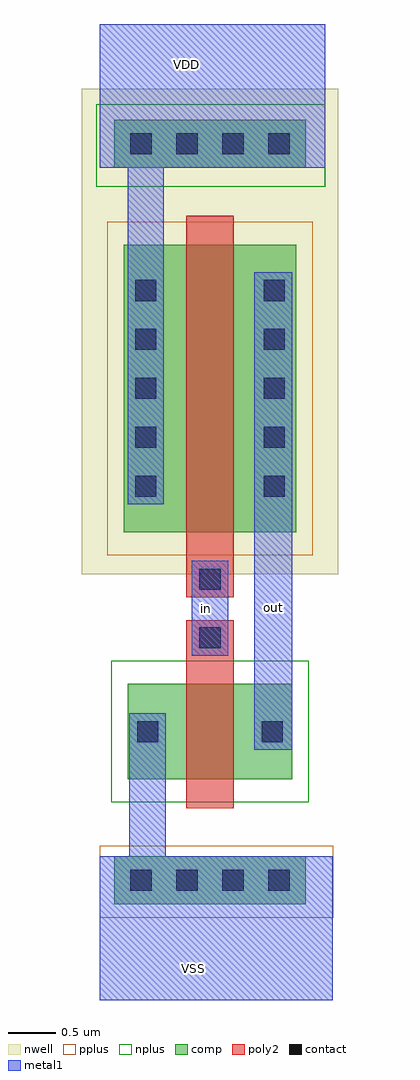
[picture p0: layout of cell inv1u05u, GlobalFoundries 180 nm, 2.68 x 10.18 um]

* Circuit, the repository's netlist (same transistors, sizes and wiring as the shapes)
** sch_path: /foss/designs/libs/core_analog/inv1u05u/inv1u05u.sch
.subckt inv1u05u in vdd out vss
*.PININFO in:B out:B vss:B vdd:B
XM1 out in vdd vdd pfet_03v3 L=0.5u W=3.0u nf=1 m=1
XM2 out in vss vss nfet_03v3 L=0.5u W=1.0u nf=1 m=1
.ends

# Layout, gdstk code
from math import pi, radians
import gdstk
lib = gdstk.Library(unit=1e-6, precision=5e-09)
def R(c, l, rs):  # rectangles x0, y0, x1, y1
    for r in rs: c.add(gdstk.rectangle(r[:2], r[2:], *l))
def A(c, l, x, y, w, h, nx, ny, dx, dy):  # array of equal rectangles
    R(c, l, [(x+i*dx, y+j*dy, x+i*dx+w, y+j*dy+h) for i in range(nx) for j in range(ny)])
nwell = (21, 0)
comp = (22, 0)
poly2 = (30, 0)
pplus = (31, 0)
nplus = (32, 0)
contact = (33, 0)
metal1 = (34, 0)

via_dev_4 = lib.new_cell('via_dev$4')
R(via_dev_4, comp, [(0,0,2,0.5)])
A(via_dev_4, contact, 0.17, 0.14, 0.22, 0.22, 4, 1, 0.48, 0)
R(via_dev_4, metal1, [(0,0,2,0.5)])

nfet = lib.new_cell('nfet')
R(nfet, comp, [(-0.42,0,0,1), (0,0,0.88,1), (0.88,0,1.3,1)])
R(nfet, poly2, [(0.19,-0.3,0.69,1.3), (0.19,1.3,0.69,1.66)])
R(nfet, nplus, [(-0.59,-0.24,1.47,1.24)])
R(nfet, contact, [(-0.32,0.39,-0.1,0.61), (0.98,0.39,1.2,0.61), (0.33,1.37,0.55,1.59)])
R(nfet, metal1, [(-0.4,0.31,-0.02,0.69), (0.9,0.31,1.28,0.69), (0.25,1.29,0.63,1.67)])

via_dev_3 = lib.new_cell('via_dev$3')

pfet_1 = lib.new_cell('pfet$1')
R(pfet_1, nwell, [(-0.9,-0.44,1.78,3.44)])
R(pfet_1, comp, [(-0.46,0,0,3), (0,0,0.88,3), (0.88,0,1.34,3)])
R(pfet_1, poly2, [(0.19,-0.68,0.69,-0.3), (0.19,-0.3,0.69,3.3)])
R(pfet_1, pplus, [(-0.63,-0.24,1.51,3.24)])
A(pfet_1, contact, -0.34, 0.37, 0.22, 0.22, 1, 5, 0, 0.51)
A(pfet_1, contact, 1, 0.37, 0.22, 0.22, 1, 5, 0, 0.51)
R(pfet_1, contact, [(0.33,-0.6,0.55,-0.38)])
R(pfet_1, metal1, [(0.25,-0.68,0.63,-0.3), (-0.42,0.29,-0.04,2.71), (0.92,0.29,1.3,2.71)])

inv1u05u = lib.new_cell('inv1u05u')
R(inv1u05u, nwell, [(11.925,3.575,14.605,4.76)])
R(inv1u05u, pplus, [(12.115,-3.885,14.55,-3.135)])
R(inv1u05u, nplus, [(12.08,3.735,14.465,4.6)])
R(inv1u05u, metal1, [(12.115,-4.745,14.545,-3.245), (12.115,-3.745,12.265,-3.245), (12.425,-3.745,12.805,-1.755), (13.725,-2.135,14.125,2.845), (13.075,-1.155,13.455,-0.165), (12.405,0.425,12.785,4.435), (12.115,3.935,12.265,4.435), (12.115,3.935,14.465,5.435)])
inv1u05u.add(gdstk.Reference(via_dev_4, (12.265,3.935)))
inv1u05u.add(gdstk.Reference(via_dev_4, (12.265,-3.745)))
inv1u05u.add(gdstk.Reference(nfet, (12.825,-2.445)))
inv1u05u.add(gdstk.Reference(via_dev_3, (11.465,-4.335), rotation=pi/2))
inv1u05u.add(gdstk.Reference(pfet_1, (12.825,0.135)))
inv1u05u.add(gdstk.Label('VDD', (13.015,5.01), layer=34, texttype=10))
inv1u05u.add(gdstk.Label('in', (13.23,-0.665), layer=34, texttype=10))
inv1u05u.add(gdstk.Label('VSS', (13.095,-4.415), layer=34, texttype=10))
inv1u05u.add(gdstk.Label('out', (13.93,-0.655), layer=34, texttype=10))

lib.write_gds('inv1u05u.gds')
